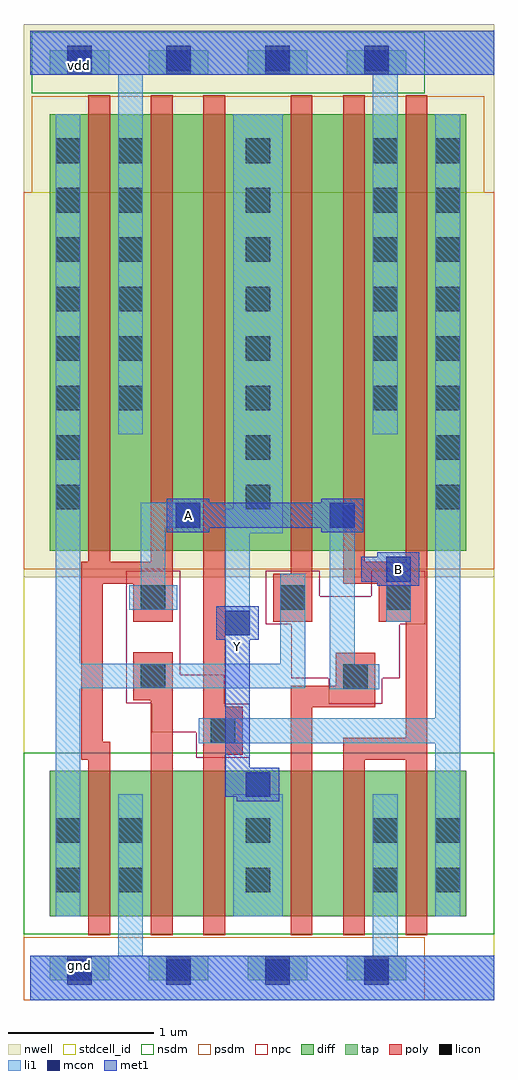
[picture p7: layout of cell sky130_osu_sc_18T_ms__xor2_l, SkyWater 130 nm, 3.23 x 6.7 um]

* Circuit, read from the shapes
.subckt sky130_osu_sc_18T_ms__xor2_l A B Y gnd vdd
XM1 gnd A n1 gnd sky130_fd_pr__nfet_01v8 w=1 l=0.15
XM2 n2 n1 gnd gnd sky130_fd_pr__nfet_01v8 w=1 l=0.15
XM3 Y n3 n2 gnd sky130_fd_pr__nfet_01v8 w=1 l=0.15
XM4 n4 A Y gnd sky130_fd_pr__nfet_01v8 w=1 l=0.15
XM5 gnd B n4 gnd sky130_fd_pr__nfet_01v8 w=1 l=0.15
XM6 n3 B gnd gnd sky130_fd_pr__nfet_01v8 w=1 l=0.15
XM7 vdd A n1 vdd sky130_fd_pr__pfet_01v8 w=3 l=0.15
XM8 n5 A vdd vdd sky130_fd_pr__pfet_01v8 w=3 l=0.15
XM9 Y n3 n5 vdd sky130_fd_pr__pfet_01v8 w=3 l=0.15
XM10 n6 n1 Y vdd sky130_fd_pr__pfet_01v8 w=3 l=0.15
XM11 vdd B n6 vdd sky130_fd_pr__pfet_01v8 w=3 l=0.15
XM12 n3 B vdd vdd sky130_fd_pr__pfet_01v8 w=3 l=0.15
.ends

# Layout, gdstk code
import gdstk
lib = gdstk.Library(unit=1e-6, precision=1e-09)
def R(c, l, rs):  # rectangles x0, y0, x1, y1
    for r in rs: c.add(gdstk.rectangle(r[:2], r[2:], *l))
def A(c, l, x, y, w, h, nx, ny, dx, dy):  # array of equal rectangles
    R(c, l, [(x+i*dx, y+j*dy, x+i*dx+w, y+j*dy+h) for i in range(nx) for j in range(ny)])
nwell = (64, 20)
diff = (65, 20)
tap = (65, 44)
poly = (66, 20)
licon = (66, 44)
li1 = (67, 20)
mcon = (67, 44)
met1 = (68, 20)
stdcell_id = (81, 4)
nsdm = (93, 44)
psdm = (94, 20)
npc = (95, 20)

sky130_osu_sc_18t_ms__xo = lib.new_cell('sky130_osu_sc_18T_ms__xor2_l')
R(sky130_osu_sc_18t_ms__xo, nwell, [(-0.045,2.905,3.19,6.705)])
R(sky130_osu_sc_18t_ms__xo, diff, [(0.135,0.575,2.995,1.575), (0.135,3.085,2.995,6.085)])
A(sky130_osu_sc_18t_ms__xo, tap, 0.135, 0.135, 0.41, 0.17, 4, 2, 0.68, 6.22)
R(sky130_osu_sc_18t_ms__xo, poly, [(0.4,0.445,0.55,1.65), (0.83,0.445,0.98,2.06), (1.19,0.445,1.34,1.685), (1.79,0.445,1.94,2.01), (2.15,0.445,2.3,1.65), (2.58,0.445,2.73,1.65), (0.35,1.65,0.55,1.775), (2.15,1.65,2.73,1.8), (1.19,1.685,1.46,2.015), (0.35,1.775,0.5,2.86), (2.58,1.8,2.73,2.6), (1.79,2.01,2.37,2.16), (1.19,2.015,1.34,6.215), (0.71,2.06,0.98,2.39), (2.1,2.16,2.37,2.385), (0.71,2.6,0.98,2.86), (1.67,2.6,1.94,2.93), (2.395,2.6,2.73,2.86), (0.35,2.86,0.98,3.01), (2.15,2.86,2.73,3.01), (1.79,2.93,1.94,6.215), (0.4,3.01,0.55,6.215), (0.83,3.01,0.98,6.215), (2.15,3.01,2.3,6.215), (2.58,3.01,2.73,6.215)])
A(sky130_osu_sc_18t_ms__xo, licon, 0.255, 0.135, 0.17, 0.17, 4, 2, 0.68, 6.22)
A(sky130_osu_sc_18t_ms__xo, licon, 0.605, 0.74, 0.17, 0.17, 3, 2, 0.875, 0.34)
A(sky130_osu_sc_18t_ms__xo, licon, 0.175, 3.37, 0.17, 0.17, 3, 2, 1.305, 0.34)
A(sky130_osu_sc_18t_ms__xo, licon, 0.175, 4.05, 0.17, 0.17, 1, 6, 0, 0.34)
A(sky130_osu_sc_18t_ms__xo, licon, 0.605, 4.05, 0.17, 0.17, 3, 6, 0.875, 0.34)
A(sky130_osu_sc_18t_ms__xo, licon, 2.785, 4.05, 0.17, 0.17, 1, 6, 0, 0.34)
R(sky130_osu_sc_18t_ms__xo, licon, [(0.175,0.74,0.345,0.91), (2.785,0.74,2.955,0.91), (0.175,1.08,0.345,1.25), (2.785,1.08,2.955,1.25), (1.24,1.765,1.41,1.935), (2.15,2.135,2.32,2.305), (0.76,2.14,0.93,2.31), (0.76,2.68,0.93,2.85), (1.72,2.68,1.89,2.85), (2.445,2.68,2.615,2.85)])
R(sky130_osu_sc_18t_ms__xo, li1, [(0,0,3.19,0.305), (0.605,0.305,0.775,1.415), (2.355,0.305,2.525,1.415), (0.175,0.575,0.345,2.14), (1.395,0.575,1.735,1.415), (2.785,0.575,2.955,1.765), (1.48,1.415,1.65,1.565), (1.16,1.765,2.955,1.935), (2.785,1.935,2.955,6.085), (2.06,2.135,2.4,2.305), (0.175,2.14,1.89,2.31), (2.06,2.305,2.23,3.415), (0.175,2.31,0.345,6.085), (1.72,2.31,1.89,2.93), (1.34,2.505,1.51,3.205), (2.445,2.6,2.615,3.045), (0.68,2.68,1.01,2.85), (0.76,2.85,0.93,3.245), (1.34,3.205,1.735,3.375), (0.76,3.245,1.17,3.415), (1.395,3.375,1.735,6.085), (0.605,3.885,0.775,6.355), (2.355,3.885,2.525,6.355), (0,6.355,3.19,6.66)])
A(sky130_osu_sc_18t_ms__xo, mcon, 0.255, 0.105, 0.17, 0.17, 4, 2, 0.68, 6.28)
R(sky130_osu_sc_18t_ms__xo, mcon, [(1.48,1.395,1.65,1.565), (1.34,2.505,1.51,2.675), (2.445,2.875,2.615,3.045), (1,3.245,1.17,3.415), (2.06,3.245,2.23,3.415)])
R(sky130_osu_sc_18t_ms__xo, met1, [(0,0,3.19,0.305), (1.42,1.365,1.71,1.395), (1.34,1.395,1.71,1.595), (1.34,1.595,1.51,2.475), (1.28,2.475,1.57,2.705), (2.385,2.845,2.675,2.875), (2.275,2.875,2.675,3.045), (2.385,3.045,2.675,3.075), (0.94,3.215,1.23,3.245), (2,3.215,2.29,3.245), (0.94,3.245,2.29,3.415), (0.94,3.415,1.23,3.445), (2,3.415,2.29,3.445), (0,6.355,3.19,6.66)])
R(sky130_osu_sc_18t_ms__xo, stdcell_id, [(-0.045,0,3.19,5.55)])
R(sky130_osu_sc_18t_ms__xo, nsdm, [(-0.045,0.45,3.19,1.7), (0.01,6.23,2.71,6.65)])
R(sky130_osu_sc_18t_ms__xo, psdm, [(-0.045,0,2.71,0.43), (-0.045,2.96,3.19,5.55), (0.01,5.55,3.12,6.21)])
R(sky130_osu_sc_18t_ms__xo, npc, [(1.14,1.665,1.51,1.84), (0.835,1.84,1.51,2.035), (0.835,2.035,1.335,2.04), (2.05,2.035,2.42,2.21), (0.66,2.04,1.335,2.235), (1.795,2.21,2.54,2.58), (0.66,2.235,1.03,2.95), (1.62,2.58,2.715,2.775), (1.62,2.775,1.99,2.95), (2.345,2.775,2.715,2.95)])
sky130_osu_sc_18t_ms__xo.add(gdstk.Label('gnd', (0.34,0.24), layer=68, texttype=16))
sky130_osu_sc_18t_ms__xo.add(gdstk.Label('vdd', (0.34,6.42), layer=68, texttype=16))
sky130_osu_sc_18t_ms__xo.add(gdstk.Label('A', (1.09,3.33), layer=68, texttype=5))
sky130_osu_sc_18t_ms__xo.add(gdstk.Label('Y', (1.425,2.43), layer=68, texttype=5))
sky130_osu_sc_18t_ms__xo.add(gdstk.Label('B', (2.53,2.96), layer=68, texttype=5))

lib.write_gds('sky130_osu_sc_18T_ms__xor2_l.gds')
